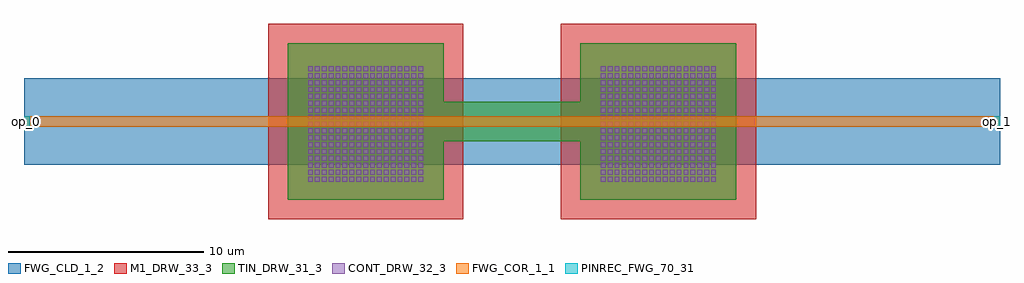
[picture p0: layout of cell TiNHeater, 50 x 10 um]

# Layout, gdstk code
import gdstk
lib = gdstk.Library(unit=1e-6, precision=1e-09)
def R(c, l, rs):  # rectangles x0, y0, x1, y1
    for r in rs: c.add(gdstk.rectangle(r[:2], r[2:], *l))
def P(c, l, *ps):  # polygons
    for p in ps: c.add(gdstk.Polygon(p, *l))
FWG_COR_1_1 = (1, 1)
FWG_CLD_1_2 = (1, 2)
TIN_DRW_31_3 = (31, 3)
CONT_DRW_32_3 = (32, 3)
M1_DRW_33_3 = (33, 3)
PINREC_FWG_70_31 = (70, 31)

c_ct = lib.new_cell('ct')
R(c_ct, CONT_DRW_32_3, [(0.051,-0.074,0.301,0.176)])

c_wg = lib.new_cell('wg')
R(c_wg, FWG_COR_1_1, [(0,-0.275,50,0.275)])
P(c_wg, FWG_CLD_1_2, [(0,2.225),(50,2.225),(50,0.275),(50,-0.275),(50,-2.225),(0,-2.225),(0,-0.275),(0,0.275)])
R(c_wg, PINREC_FWG_70_31, [(0,-0.275,0.3,0.275), (49.7,-0.275,50,0.275)])
c_wg.add(gdstk.Label('op_0', (0.15,0), layer=70, texttype=41))
c_wg.add(gdstk.Label('op_1', (49.85,0), layer=70, texttype=41))

straight_wg = lib.new_cell('Straight_wg')
R(straight_wg, PINREC_FWG_70_31, [(0,-0.275,0.3,0.275), (49.7,-0.275,50,0.275)])
straight_wg.add(gdstk.Reference(c_wg, (0,0)))
straight_wg.add(gdstk.Label('op_0', (0.15,0), layer=70, texttype=41))
straight_wg.add(gdstk.Label('op_1', (49.85,0), layer=70, texttype=41))

tinheater = lib.new_cell('TiNHeater')
R(tinheater, TIN_DRW_31_3, [(-11.5,-4,-3.5,4), (3.5,-4,11.5,4), (-7.5,-1,7.5,1)])
R(tinheater, M1_DRW_33_3, [(-12.5,-5,-2.5,5), (2.5,-5,12.5,5)])
R(tinheater, PINREC_FWG_70_31, [(-25,-0.275,-24.7,0.275), (24.7,-0.275,25,0.275)])
r = gdstk.Reference(c_ct, (-10.5,-3)); r.repetition = gdstk.Repetition(17, 17, v1=(0.3529,0), v2=(0,0.3529)); tinheater.add(r)
r = gdstk.Reference(c_ct, (4.5,-3)); r.repetition = gdstk.Repetition(17, 17, v1=(0.3529,0), v2=(0,0.3529)); tinheater.add(r)
tinheater.add(gdstk.Reference(straight_wg, (-25,0)))
tinheater.add(gdstk.Label('op_0', (-24.85,0), layer=70, texttype=41))
tinheater.add(gdstk.Label('op_1', (24.85,0), layer=70, texttype=41))

lib.write_gds('TiNHeater.gds')
